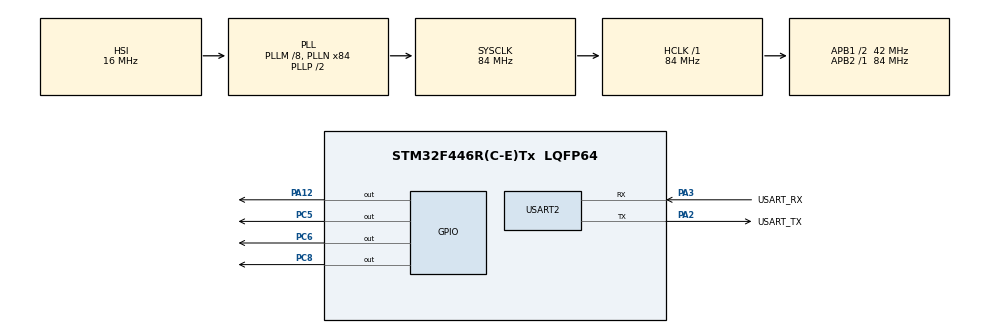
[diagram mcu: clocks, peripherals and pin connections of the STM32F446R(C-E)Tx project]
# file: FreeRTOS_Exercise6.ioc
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Mcu.Family=STM32F4
Mcu.Name=STM32F446R(C-E)Tx
Mcu.Package=LQFP64
NVIC.PriorityGroup=NVIC_PRIORITYGROUP_4
NVIC.TIM6_DAC_IRQn=true\:15\:0\:false\:false\:true\:false\:true\:true
NVIC.TimeBase=TIM6_DAC_IRQn
NVIC.TimeBaseIP=TIM6
NVIC.USART2_IRQn=true\:6\:0\:true\:false\:true\:true\:true\:true
PA12.Signal=GPIO_Output
PA13.GPIO_Label=TMS
PA13.Mode=Serial_Wire
PA13.Signal=SYS_JTMS-SWDIO
PA14.GPIO_Label=TCK
PA14.Mode=Serial_Wire
PA14.Signal=SYS_JTCK-SWCLK
PA2.GPIO_Label=USART_TX
PA2.Mode=Asynchronous
PA2.Signal=USART2_TX
PA3.GPIO_Label=USART_RX
PA3.Mode=Asynchronous
PA3.Signal=USART2_RX
PB3.GPIO_Label=SWO
PB3.Signal=SYS_JTDO-SWO
PC14-OSC32_IN.Mode=LSE-External-Oscillator
PC14-OSC32_IN.Signal=RCC_OSC32_IN
PC15-OSC32_OUT.Mode=LSE-External-Oscillator
PC15-OSC32_OUT.Signal=RCC_OSC32_OUT
PC5.Signal=GPIO_Output
PC6.Signal=GPIO_Output
PC8.Signal=GPIO_Output
PH0-OSC_IN.Mode=HSE-External-Oscillator
PH0-OSC_IN.Signal=RCC_OSC_IN
PH1-OSC_OUT.Mode=HSE-External-Oscillator
PH1-OSC_OUT.Signal=RCC_OSC_OUT
ProjectManager.HeapSize=0x200
ProjectManager.StackSize=0x400
ProjectManager.TargetToolchain=STM32CubeIDE
RCC.48MHZClocksFreq_Value=84000000
RCC.AHBFreq_Value=84000000
RCC.APB1CLKDivider=RCC_HCLK_DIV2
RCC.APB1Freq_Value=42000000
RCC.APB1TimFreq_Value=84000000
RCC.APB2Freq_Value=84000000
RCC.APB2TimFreq_Value=84000000
RCC.CortexFreq_Value=84000000
RCC.FLatency-AdvancedSettings=FLASH_LATENCY_2
RCC.HCLKFreq_Value=84000000
RCC.HSE_VALUE=8000000
RCC.HSI_VALUE=16000000
RCC.PLLM=8
RCC.PLLN=84
RCC.SYSCLKFreq_VALUE=84000000
RCC.SYSCLKSource=RCC_SYSCLKSOURCE_PLLCLK
RCC.USBFreq_Value=84000000
RCC.VCOOutputFreq_Value=168000000
RTC.HourFormat=RTC_HOURFORMAT_12
USART2.VirtualMode=VM_ASYNC
VP_RTC_VS_RTC_Activate.Mode=RTC_Enabled
VP_SYS_VS_tim6.Mode=TIM6
board=NUCLEO-F446RE

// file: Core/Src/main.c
/* USER CODE BEGIN Header */
/**
  ******************************************************************************
  * @file           : main.c
  * @brief          : Main program body
  ******************************************************************************
  * @attention
  *
  * Copyright (c) 2024 STMicroelectronics.
  * All rights reserved.
  *
  * This software is licensed under terms that can be found in the LICENSE file
  * in the root directory of this software component.
  * If no LICENSE file comes with this software, it is provided AS-IS.
  *
  ******************************************************************************
  */
/* USER CODE END Header */
#include "main.h"

RTC_HandleTypeDef hrtc;

UART_HandleTypeDef huart2;

/* USER CODE BEGIN PV */

volatile char cRxBuf;

TaskHandle_t MenuTaskHandle;
TaskHandle_t CommandTaskHandle;
TaskHandle_t LEDTaskHandle;
TaskHandle_t RTCTaskHandle;
TaskHandle_t PrintTaskHandle;

QueueHandle_t TxQueueHandle;
QueueHandle_t RxQueueHandle;

TimerHandle_t LedTimerHandles[NUM_OF_TIMERS];
TimerHandle_t ReportTimerHandle;

/* USER CODE END PV */

void SystemClock_Config(void);
static void MX_GPIO_Init(void);
static void MX_USART2_UART_Init(void);
static void MX_RTC_Init(void);
/* USER CODE BEGIN PFP */

void LedEffectCb(TimerHandle_t Copy_TimerHandle);
void ReportTimeCb(TimerHandle_t Copy_TimerHandle);

/* USER CODE END PFP */

int main(void)
{

  /* USER CODE BEGIN 1 */

	BaseType_t Local_TaskStatus;

  /* USER CODE END 1 */

  /* MCU Configuration--------------------------------------------------------*/

  /* Reset of all peripherals, Initializes the Flash interface and the Systick. */
  HAL_Init();

  /* Configure the system clock */
  SystemClock_Config();

  /* Initialize all configured peripherals */
  MX_GPIO_Init();
  MX_USART2_UART_Init();
  MX_RTC_Init();
  /* USER CODE BEGIN 2 */

  Local_TaskStatus = xTaskCreate(&MenuTask, "Menu Task", 250U, NULL, 2U, &MenuTaskHandle);
  configASSERT(pdPASS == Local_TaskStatus);

  Local_TaskStatus = xTaskCreate(&CmdHandlerTask, "Cmd Task", 250U, NULL, 2U, &CommandTaskHandle);
  configASSERT(pdPASS == Local_TaskStatus);

  Local_TaskStatus = xTaskCreate(&PrintTask, "Print Task", 250U, NULL, 2U, &PrintTaskHandle);
  configASSERT(pdPASS == Local_TaskStatus);

  Local_TaskStatus = xTaskCreate(&LEDTask, "LED Task", 250U, NULL, 2U, &LEDTaskHandle);
  configASSERT(pdPASS == Local_TaskStatus);

  Local_TaskStatus = xTaskCreate(&RTCTask, "RTC Task", 300U, NULL, 2U, &RTCTaskHandle);
  configASSERT(pdPASS == Local_TaskStatus);

  TxQueueHandle = xQueueCreate(10U, sizeof(char *));
  configASSERT(NULL != TxQueueHandle);

  RxQueueHandle = xQueueCreate(10U, sizeof(char));
  configASSERT(NULL != RxQueueHandle);

  for (uint8_t Local_u8LoopCounter = 0; Local_u8LoopCounter < NUM_OF_TIMERS; Local_u8LoopCounter++)
  {
	  LedTimerHandles[Local_u8LoopCounter] = xTimerCreate(
			  "Led Timer",
			  pdMS_TO_TICKS(500U),
			  pdTRUE,
			  (void *) (Local_u8LoopCounter + 1U),
			  &LedEffectCb);
  }

  ReportTimerHandle = xTimerCreate("Reporting Timer", pdMS_TO_TICKS(1000U), pdTRUE, (void *) 6U, &ReportTimeCb);

  /* Enable UART receiving in INT mode */
  HAL_UART_Receive_IT(&huart2, (uint8_t *) &cRxBuf, 1U);

  vTaskStartScheduler();

  /* USER CODE END 2 */

  /* Infinite loop */
  while (1)
  {

  }
}

void SystemClock_Config(void)
{
  RCC_OscInitTypeDef RCC_OscInitStruct = {0};
  RCC_ClkInitTypeDef RCC_ClkInitStruct = {0};

  /** Configure the main internal regulator output voltage
  */
  __HAL_RCC_PWR_CLK_ENABLE();
  __HAL_PWR_VOLTAGESCALING_CONFIG(PWR_REGULATOR_VOLTAGE_SCALE3);

  /** Initializes the RCC Oscillators according to the specified parameters
  * in the RCC_OscInitTypeDef structure.
  */
  RCC_OscInitStruct.OscillatorType = RCC_OSCILLATORTYPE_HSI|RCC_OSCILLATORTYPE_LSI;
  RCC_OscInitStruct.LSEState = RCC_LSE_ON;
  RCC_OscInitStruct.HSIState = RCC_HSI_ON;
  RCC_OscInitStruct.HSICalibrationValue = RCC_HSICALIBRATION_DEFAULT;
  RCC_OscInitStruct.LSIState = RCC_LSI_ON;
  RCC_OscInitStruct.PLL.PLLState = RCC_PLL_ON;
  RCC_OscInitStruct.PLL.PLLSource = RCC_PLLSOURCE_HSI;
  RCC_OscInitStruct.PLL.PLLM = 8;
  RCC_OscInitStruct.PLL.PLLN = 84;
  RCC_OscInitStruct.PLL.PLLP = RCC_PLLP_DIV2;
  RCC_OscInitStruct.PLL.PLLQ = 2;
  RCC_OscInitStruct.PLL.PLLR = 2;
  if (HAL_RCC_OscConfig(&RCC_OscInitStruct) != HAL_OK)
  {
    Error_Handler();
  }

  /** Initializes the CPU, AHB and APB buses clocks
  */
  RCC_ClkInitStruct.ClockType = RCC_CLOCKTYPE_HCLK|RCC_CLOCKTYPE_SYSCLK
                              |RCC_CLOCKTYPE_PCLK1|RCC_CLOCKTYPE_PCLK2;
  RCC_ClkInitStruct.SYSCLKSource = RCC_SYSCLKSOURCE_PLLCLK;
  RCC_ClkInitStruct.AHBCLKDivider = RCC_SYSCLK_DIV1;
  RCC_ClkInitStruct.APB1CLKDivider = RCC_HCLK_DIV2;
  RCC_ClkInitStruct.APB2CLKDivider = RCC_HCLK_DIV1;

  if (HAL_RCC_ClockConfig(&RCC_ClkInitStruct, FLASH_LATENCY_2) != HAL_OK)
  {
    Error_Handler();
  }
}

static void MX_RTC_Init(void)
{

  /** Initialize RTC Only
  */
  hrtc.Instance = RTC;
  hrtc.Init.HourFormat = RTC_HOURFORMAT_12;
  hrtc.Init.AsynchPrediv = 127;
  hrtc.Init.SynchPrediv = 255;
  hrtc.Init.OutPut = RTC_OUTPUT_DISABLE;
  hrtc.Init.OutPutPolarity = RTC_OUTPUT_POLARITY_HIGH;
  hrtc.Init.OutPutType = RTC_OUTPUT_TYPE_OPENDRAIN;
  if (HAL_RTC_Init(&hrtc) != HAL_OK)
  {
    Error_Handler();
  }

}

static void MX_USART2_UART_Init(void)
{

  huart2.Instance = USART2;
  huart2.Init.BaudRate = 115200;
  huart2.Init.WordLength = UART_WORDLENGTH_8B;
  huart2.Init.StopBits = UART_STOPBITS_1;
  huart2.Init.Parity = UART_PARITY_NONE;
  huart2.Init.Mode = UART_MODE_TX_RX;
  huart2.Init.HwFlowCtl = UART_HWCONTROL_NONE;
  huart2.Init.OverSampling = UART_OVERSAMPLING_16;
  if (HAL_UART_Init(&huart2) != HAL_OK)
  {
    Error_Handler();
  }

}

static void MX_GPIO_Init(void)
{
  GPIO_InitTypeDef GPIO_InitStruct = {0};

  /* GPIO Ports Clock Enable */
  __HAL_RCC_GPIOC_CLK_ENABLE();
  __HAL_RCC_GPIOH_CLK_ENABLE();
  __HAL_RCC_GPIOA_CLK_ENABLE();
  __HAL_RCC_GPIOB_CLK_ENABLE();

  /*Configure GPIO pin Output Level */
  HAL_GPIO_WritePin(GPIOC, GPIO_PIN_5|GPIO_PIN_6|GPIO_PIN_8, GPIO_PIN_RESET);

  /*Configure GPIO pin Output Level */
  HAL_GPIO_WritePin(GPIOA, GPIO_PIN_12, GPIO_PIN_RESET);

  /*Configure GPIO pins : PC5 PC6 PC8 */
  GPIO_InitStruct.Pin = GPIO_PIN_5|GPIO_PIN_6|GPIO_PIN_8;
  GPIO_InitStruct.Mode = GPIO_MODE_OUTPUT_PP;
  GPIO_InitStruct.Pull = GPIO_NOPULL;
  GPIO_InitStruct.Speed = GPIO_SPEED_FREQ_LOW;
  HAL_GPIO_Init(GPIOC, &GPIO_InitStruct);

  /*Configure GPIO pin : PA12 */
  GPIO_InitStruct.Pin = GPIO_PIN_12;
  GPIO_InitStruct.Mode = GPIO_MODE_OUTPUT_PP;
  GPIO_InitStruct.Pull = GPIO_NOPULL;
  GPIO_InitStruct.Speed = GPIO_SPEED_FREQ_LOW;
  HAL_GPIO_Init(GPIOA, &GPIO_InitStruct);

}

/* USER CODE BEGIN 4 */

void LedEffectCb(TimerHandle_t Copy_TimerHandle)
{
	uint8_t Local_u8TimerID;
	Local_u8TimerID = (uint32_t) pvTimerGetTimerID(Copy_TimerHandle);

	switch (Local_u8TimerID)
	{
	case 1: LedEffectAction1(); break;
	case 2: LedEffectAction2(); break;
	case 3: LedEffectAction3(); break;
	case 4: LedEffectAction4(); break;
	default: break;
	}
}

void ReportTimeCb(TimerHandle_t Copy_TimerHandle)
{
	DateTime_voidReportDateTime_ITM();
}

void HAL_UART_RxCpltCallback(UART_HandleTypeDef *huart)
{
	if (pdFALSE == xQueueIsQueueFullFromISR(RxQueueHandle))
	{
		/* Queue is not full, Enqueue the data */
		xQueueSendFromISR(RxQueueHandle, (const void *) &cRxBuf, NULL);
	}
	else /* Queue is full */
	{
		if ('\r' == cRxBuf)
		{
			xQueueOverwriteFromISR(RxQueueHandle, (const void *) &cRxBuf, NULL);
		}
	}

	if ('\r' == cRxBuf)
	{
		/* Command is finished, Now notify the command handler task */
		xTaskNotifyFromISR(CommandTaskHandle, 0U, eNoAction, NULL);
	}

	/* Enable UART receiving in INT mode */
	HAL_UART_Receive_IT(&huart2, (uint8_t *) &cRxBuf, 1U);
}

int __io_putchar(int ch)
{
	int32_t Local_i32Ret;
	Local_i32Ret = ITM_SendChar(ch);
	return Local_i32Ret;
}

/* USER CODE END 4 */

void HAL_TIM_PeriodElapsedCallback(TIM_HandleTypeDef *htim)
{
  if (htim->Instance == TIM6) {
    HAL_IncTick();
  }
}

void Error_Handler(void)
{
  __disable_irq();
  while (1)
  {
  }
}
